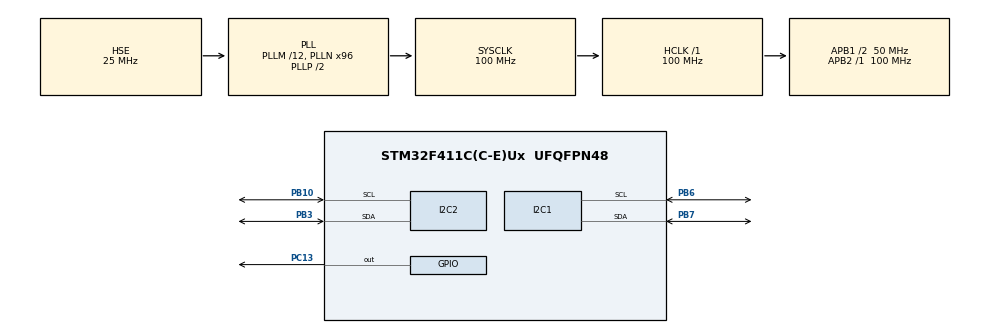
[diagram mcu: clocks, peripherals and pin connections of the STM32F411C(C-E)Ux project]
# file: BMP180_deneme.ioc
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Mcu.Family=STM32F4
Mcu.Name=STM32F411C(C-E)Ux
Mcu.Package=UFQFPN48
NVIC.PriorityGroup=NVIC_PRIORITYGROUP_4
PA13.Mode=Serial_Wire
PA13.Signal=SYS_JTMS-SWDIO
PA14.Mode=Serial_Wire
PA14.Signal=SYS_JTCK-SWCLK
PB10.Mode=I2C
PB10.Signal=I2C2_SCL
PB3.Mode=I2C
PB3.Signal=I2C2_SDA
PB6.Mode=I2C
PB6.Signal=I2C1_SCL
PB7.Mode=I2C
PB7.Signal=I2C1_SDA
PC13-ANTI_TAMP.Signal=GPIO_Output
PH0\ -\ OSC_IN.Mode=HSE-External-Oscillator
PH0\ -\ OSC_IN.Signal=RCC_OSC_IN
PH1\ -\ OSC_OUT.Mode=HSE-External-Oscillator
PH1\ -\ OSC_OUT.Signal=RCC_OSC_OUT
ProjectManager.HeapSize=0x200
ProjectManager.StackSize=0x400
ProjectManager.TargetToolchain=STM32CubeIDE
RCC.48MHZClocksFreq_Value=50000000
RCC.AHBFreq_Value=100000000
RCC.APB1CLKDivider=RCC_HCLK_DIV2
RCC.APB1Freq_Value=50000000
RCC.APB1TimFreq_Value=100000000
RCC.APB2Freq_Value=100000000
RCC.APB2TimFreq_Value=100000000
RCC.CortexFreq_Value=100000000
RCC.HCLKFreq_Value=100000000
RCC.HSE_VALUE=25000000
RCC.HSI_VALUE=16000000
RCC.LSE_VALUE=32768
RCC.PLLM=12
RCC.PLLN=96
RCC.PLLSourceVirtual=RCC_PLLSOURCE_HSE
RCC.SYSCLKFreq_VALUE=100000000
RCC.SYSCLKSource=RCC_SYSCLKSOURCE_PLLCLK
RCC.VCOOutputFreq_Value=200000000
board=custom

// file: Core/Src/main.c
/* USER CODE BEGIN Header */
/**
  ******************************************************************************
  * @file           : main.c
  * @brief          : Main program body
  ******************************************************************************
  * @attention
  *
  * Copyright (c) 2022 STMicroelectronics.
  * All rights reserved.
  *
  * This software is licensed under terms that can be found in the LICENSE file
  * in the root directory of this software component.
  * If no LICENSE file comes with this software, it is provided AS-IS.
  *
  ******************************************************************************
  */
/* USER CODE END Header */
#include "main.h"
#include "i2c.h"
#include "gpio.h"

/* USER CODE BEGIN Includes */
//#include "bmp180.h"
//#include "BMP280.h"
#include "BMP388.h"
/* USER CODE END Includes */

/* USER CODE BEGIN PM */
float altitude = 0, referance_alt = 0, velocity = 0, height = 0, prev_height = 0;
double press = 0;
double temperature = 0;

uint32_t prev_tick = 0;
uint8_t address[16];

int i = 0;
/* USER CODE END PM */

void SystemClock_Config(void);

int main(void)
{

  /* MCU Configuration--------------------------------------------------------*/

  /* Reset of all peripherals, Initializes the Flash interface and the Systick. */
  HAL_Init();

  /* Configure the system clock */
  SystemClock_Config();

  /* Initialize all configured peripherals */
  MX_GPIO_Init();
  MX_I2C1_Init();
  MX_I2C2_Init();
  /* USER CODE BEGIN 2 */
  int k = 0;
   for(i=0; i<255; i++) // i2c hattı kontrolü
   {

 	  if(!HAL_I2C_IsDeviceReady(&hi2c1, i, 1, 10)) // HAL_OK 0x00 olduğu için not ını alarak 1 e eşitledik
 	  {
 		  address[k] = i;
 		  k++;
 		  i++;

 	  }
   }

   BMP388_Init();

   HAL_Delay(100); // sensörün ilk açıldığı an yanlış değer veriyor. ufak bi bekleme koydum
   BMP388_readData(&temperature, &press);
   referance_alt = BMP388_readAltitude(press, 1013.25);
  /* USER CODE END 2 */

  /* Infinite loop */
  /* USER CODE BEGIN WHILE */

  while (1)
  {

	  //temperature = BMP180_GetTemp(3);
     if(HAL_GetTick() - prev_tick >= 950){ // ufak bi 50 ms fark bırakmak iyi olur

    	 	  HAL_GPIO_TogglePin(GPIOC, GPIO_PIN_13);

    	 	  	BMP388_readData(&temperature, &press);

    	 		altitude = BMP388_readAltitude(press, 1013.25);
    	 	 	height = altitude - referance_alt; // işlem zaten her 1000 ms içinde tekrarlanacağı için yükseklik farkı velocity i verecek
    	 		velocity = height - prev_height;
    	 		prev_height = height;
    	 	 	prev_tick = HAL_GetTick();
     }

//		HAL_Delay(500);

    /* USER CODE END WHILE */

  }
}

void SystemClock_Config(void)
{
  RCC_OscInitTypeDef RCC_OscInitStruct = {0};
  RCC_ClkInitTypeDef RCC_ClkInitStruct = {0};

  /** Configure the main internal regulator output voltage
  */
  __HAL_RCC_PWR_CLK_ENABLE();
  __HAL_PWR_VOLTAGESCALING_CONFIG(PWR_REGULATOR_VOLTAGE_SCALE1);

  /** Initializes the RCC Oscillators according to the specified parameters
  * in the RCC_OscInitTypeDef structure.
  */
  RCC_OscInitStruct.OscillatorType = RCC_OSCILLATORTYPE_HSE;
  RCC_OscInitStruct.HSEState = RCC_HSE_ON;
  RCC_OscInitStruct.PLL.PLLState = RCC_PLL_ON;
  RCC_OscInitStruct.PLL.PLLSource = RCC_PLLSOURCE_HSE;
  RCC_OscInitStruct.PLL.PLLM = 12;
  RCC_OscInitStruct.PLL.PLLN = 96;
  RCC_OscInitStruct.PLL.PLLP = RCC_PLLP_DIV2;
  RCC_OscInitStruct.PLL.PLLQ = 4;
  if (HAL_RCC_OscConfig(&RCC_OscInitStruct) != HAL_OK)
  {
    Error_Handler();
  }

  /** Initializes the CPU, AHB and APB buses clocks
  */
  RCC_ClkInitStruct.ClockType = RCC_CLOCKTYPE_HCLK|RCC_CLOCKTYPE_SYSCLK
                              |RCC_CLOCKTYPE_PCLK1|RCC_CLOCKTYPE_PCLK2;
  RCC_ClkInitStruct.SYSCLKSource = RCC_SYSCLKSOURCE_PLLCLK;
  RCC_ClkInitStruct.AHBCLKDivider = RCC_SYSCLK_DIV1;
  RCC_ClkInitStruct.APB1CLKDivider = RCC_HCLK_DIV2;
  RCC_ClkInitStruct.APB2CLKDivider = RCC_HCLK_DIV1;

  if (HAL_RCC_ClockConfig(&RCC_ClkInitStruct, FLASH_LATENCY_3) != HAL_OK)
  {
    Error_Handler();
  }
}

void Error_Handler(void)
{
  __disable_irq();
  while (1)
  {
  }
}
